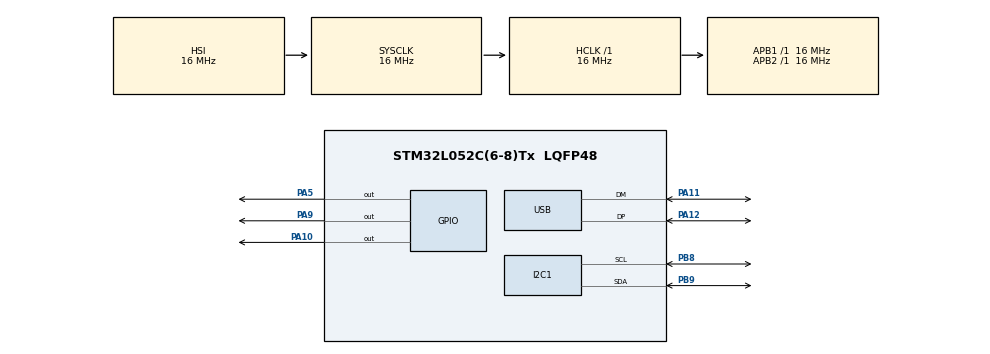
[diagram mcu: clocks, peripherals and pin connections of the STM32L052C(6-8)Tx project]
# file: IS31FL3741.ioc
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I2C1.Timing=0x00303D5B
Mcu.Family=STM32L0
Mcu.Name=STM32L052C(6-8)Tx
Mcu.Package=LQFP48
NVIC.USB_IRQn=true\:0\:0\:false\:false\:true\:false\:true
PA10.Signal=GPIO_Output
PA11.Mode=Device
PA11.Signal=USB_DM
PA12.Mode=Device
PA12.Signal=USB_DP
PA5.Signal=GPIO_Output
PA9.Signal=GPIO_Output
PB8.Mode=I2C
PB8.Signal=I2C1_SCL
PB9.Mode=I2C
PB9.Signal=I2C1_SDA
ProjectManager.HeapSize=0x200
ProjectManager.StackSize=0x400
ProjectManager.TargetToolchain=Makefile
RCC.AHBFreq_Value=16000000
RCC.APB1Freq_Value=16000000
RCC.APB1TimFreq_Value=16000000
RCC.APB2Freq_Value=16000000
RCC.APB2TimFreq_Value=16000000
RCC.HCLKFreq_Value=16000000
RCC.HSE_VALUE=8000000
RCC.HSI16_VALUE=16000000
RCC.HSI48MClockSelection=RCC_USBCLKSOURCE_HSI48
RCC.HSI48_VALUE=48000000
RCC.HSI_VALUE=16000000
RCC.LSE_VALUE=32768
RCC.MSI_VALUE=2097000
RCC.SYSCLKFreq_VALUE=16000000
RCC.SYSCLKSource=RCC_SYSCLKSOURCE_HSI
RCC.VCOOutputFreq_Value=48000000
USB_DEVICE.CLASS_NAME_FS=CDC
USB_DEVICE.VirtualMode=Cdc
USB_DEVICE.VirtualModeFS=Cdc_FS
VP_USB_DEVICE_VS_USB_DEVICE_CDC_FS.Mode=CDC_FS
board=custom

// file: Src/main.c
/* USER CODE BEGIN Header */
/**
  ******************************************************************************
  * @file           : main.c
  * @brief          : Main program body
  ******************************************************************************
  * @attention
  *
  * <h2><center>&copy; Copyright (c) 2019 STMicroelectronics.
  * All rights reserved.</center></h2>
  *
  * This software component is licensed by ST under BSD 3-Clause license,
  * the "License"; You may not use this file except in compliance with the
  * License. You may obtain a copy of the License at:
  *                        opensource.org/licenses/BSD-3-Clause
  *
  ******************************************************************************
  */
/* USER CODE END Header */

#include "main.h"
#include "usb_device.h"

/* USER CODE BEGIN Includes */
#include "IS31FL3741.c"
#include "DebugString.c"
/* USER CODE END Includes */

/* USER CODE BEGIN PD */
volatile uint8_t Mode_NO =1;

/* USER CODE END PD */

I2C_HandleTypeDef hi2c1;

void SystemClock_Config(void);
static void MX_GPIO_Init(void);
static void MX_I2C1_Init(void);

int main(void)
{
  /* USER CODE BEGIN 1 */
   uint8_t buffer[] = "HeartBeat\r\n";

  /* USER CODE END 1 */

  /* MCU Configuration--------------------------------------------------------*/

  /* Reset of all peripherals, Initializes the Flash interface and the Systick. */
  HAL_Init();

  /* Configure the system clock */
  SystemClock_Config();

  /* USER CODE BEGIN SysInit */
   extern uint8_t CDC_Transmit_FS(uint8_t* Buf, uint16_t Len);

  /* USER CODE END SysInit */

  /* Initialize all configured peripherals */
  MX_GPIO_Init();
  MX_I2C1_Init();
  MX_USB_DEVICE_Init();
  /* USER CODE BEGIN 2 */
   HAL_GPIO_WritePin(GPIOA,GPIO_PIN_10,GPIO_PIN_SET);
   HAL_GPIO_WritePin(GPIOA,GPIO_PIN_9,GPIO_PIN_SET);
   IS31FL3741_Init();
   //IS31FL3741_Init(&hi2c1);

   Hello();

  /* USER CODE END 2 */

  /* Infinite loop */
  while (1)
  {

    /* USER CODE BEGIN 3 */
      //uint8_t value = 255;

   //HAL_I2C_Mem_Write(&hi2c1   ,0x60,0xFE,8,(uint8_t*)0xC5,8,100); //Command Registrer Write Lock, Enable write once
      HAL_GPIO_TogglePin(GPIOA,GPIO_PIN_5);

   HAL_Delay(1000);
   CDC_Transmit_FS(buffer,sizeof(buffer));
     //HAL_I2C_Master_Transmit(&hi2c1,0x60,(uint8_t*)255,8,100);
 //  put_char("h");

   Play_IS31FL3741_Demo_mode();

   HAL_Delay(1000);
   CDC_Transmit_FS(buffer,sizeof(buffer));
  // HAL_Delay(1000);
  }
  /* USER CODE END 3 */
}

void I2C_WriteByte(int DeviceAddress, int WriteAddress, int SendByte){
   HAL_I2C_Mem_Write(&hi2c1, 0x60, WriteAddress,2, (uint8_t*)SendByte,2,100);
}

void SystemClock_Config(void)
{
  RCC_OscInitTypeDef RCC_OscInitStruct = {0};
  RCC_ClkInitTypeDef RCC_ClkInitStruct = {0};
  RCC_PeriphCLKInitTypeDef PeriphClkInit = {0};

  /** Configure the main internal regulator output voltage
  */
  __HAL_PWR_VOLTAGESCALING_CONFIG(PWR_REGULATOR_VOLTAGE_SCALE1);
  /** Initializes the CPU, AHB and APB busses clocks
  */
  RCC_OscInitStruct.OscillatorType = RCC_OSCILLATORTYPE_HSI|RCC_OSCILLATORTYPE_HSI48;
  RCC_OscInitStruct.HSIState = RCC_HSI_ON;
  RCC_OscInitStruct.HSICalibrationValue = RCC_HSICALIBRATION_DEFAULT;
  RCC_OscInitStruct.HSI48State = RCC_HSI48_ON;
  RCC_OscInitStruct.PLL.PLLState = RCC_PLL_NONE;
  if (HAL_RCC_OscConfig(&RCC_OscInitStruct) != HAL_OK)
  {
    Error_Handler();
  }
  /** Initializes the CPU, AHB and APB busses clocks
  */
  RCC_ClkInitStruct.ClockType = RCC_CLOCKTYPE_HCLK|RCC_CLOCKTYPE_SYSCLK
                              |RCC_CLOCKTYPE_PCLK1|RCC_CLOCKTYPE_PCLK2;
  RCC_ClkInitStruct.SYSCLKSource = RCC_SYSCLKSOURCE_HSI;
  RCC_ClkInitStruct.AHBCLKDivider = RCC_SYSCLK_DIV1;
  RCC_ClkInitStruct.APB1CLKDivider = RCC_HCLK_DIV1;
  RCC_ClkInitStruct.APB2CLKDivider = RCC_HCLK_DIV1;

  if (HAL_RCC_ClockConfig(&RCC_ClkInitStruct, FLASH_LATENCY_0) != HAL_OK)
  {
    Error_Handler();
  }
  PeriphClkInit.PeriphClockSelection = RCC_PERIPHCLK_I2C1|RCC_PERIPHCLK_USB;
  PeriphClkInit.I2c1ClockSelection = RCC_I2C1CLKSOURCE_PCLK1;
  PeriphClkInit.UsbClockSelection = RCC_USBCLKSOURCE_HSI48;
  if (HAL_RCCEx_PeriphCLKConfig(&PeriphClkInit) != HAL_OK)
  {
    Error_Handler();
  }
}

static void MX_I2C1_Init(void)
{

  hi2c1.Instance = I2C1;
  hi2c1.Init.Timing = 0x00303D5B;
  hi2c1.Init.OwnAddress1 = 0;
  hi2c1.Init.AddressingMode = I2C_ADDRESSINGMODE_7BIT;
  hi2c1.Init.DualAddressMode = I2C_DUALADDRESS_DISABLE;
  hi2c1.Init.OwnAddress2 = 0;
  hi2c1.Init.OwnAddress2Masks = I2C_OA2_NOMASK;
  hi2c1.Init.GeneralCallMode = I2C_GENERALCALL_DISABLE;
  hi2c1.Init.NoStretchMode = I2C_NOSTRETCH_DISABLE;
  if (HAL_I2C_Init(&hi2c1) != HAL_OK)
  {
    Error_Handler();
  }
  /** Configure Analogue filter
  */
  if (HAL_I2CEx_ConfigAnalogFilter(&hi2c1, I2C_ANALOGFILTER_ENABLE) != HAL_OK)
  {
    Error_Handler();
  }
  /** Configure Digital filter
  */
  if (HAL_I2CEx_ConfigDigitalFilter(&hi2c1, 0) != HAL_OK)
  {
    Error_Handler();
  }

}

static void MX_GPIO_Init(void)
{
  GPIO_InitTypeDef GPIO_InitStruct = {0};

  /* GPIO Ports Clock Enable */
  __HAL_RCC_GPIOA_CLK_ENABLE();
  __HAL_RCC_GPIOB_CLK_ENABLE();

  /*Configure GPIO pin Output Level */
  HAL_GPIO_WritePin(GPIOA, GPIO_PIN_5|GPIO_PIN_9|GPIO_PIN_10, GPIO_PIN_RESET);

  /*Configure GPIO pins : PA5 PA9 PA10 */
  GPIO_InitStruct.Pin = GPIO_PIN_5|GPIO_PIN_9|GPIO_PIN_10;
  GPIO_InitStruct.Mode = GPIO_MODE_OUTPUT_PP;
  GPIO_InitStruct.Pull = GPIO_NOPULL;
  GPIO_InitStruct.Speed = GPIO_SPEED_FREQ_LOW;
  HAL_GPIO_Init(GPIOA, &GPIO_InitStruct);

}

void Error_Handler(void)
{
}

/************************ (C) COPYRIGHT STMicroelectronics *****END OF FILE****/
